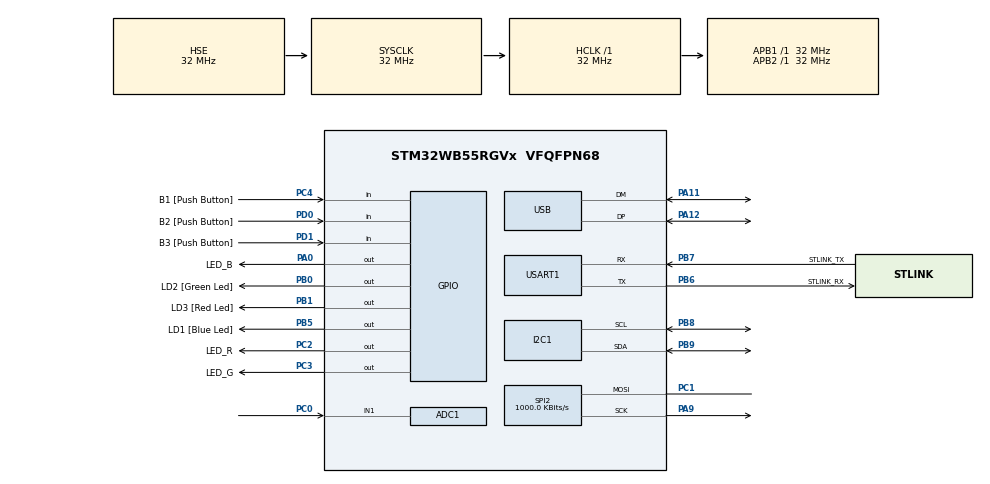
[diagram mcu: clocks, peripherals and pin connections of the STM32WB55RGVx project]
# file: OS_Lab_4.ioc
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Mcu.Family=STM32WB
Dma.SPI2_RX.0.Instance=DMA1_Channel1
RCC.CortexFreq_Value=32000000
SPI2.VirtualType=VM_MASTER
RCC.SMPSCLockSelectionVirtualVirtual=RCC_SMPSCLKSOURCE_HSI
USART1.WordLength=WORDLENGTH_7B
PA14.GPIO_Label=JTCK
PA0.GPIO_Label=LED_B
PD0.GPIO_Label=B2 [Push Button]
PA11.Mode=Device
PB0.GPIO_Label=LD2 [Green Led]
PB6.GPIO_Label=STLINK_RX
Dma.SPI2_RX.0.SyncEnable=DISABLE
RCC.SYSCLKSource=RCC_SYSCLKSOURCE_HSE
ProjectManager.StackSize=0x400
FREERTOS.configENABLE_FPU=1
PA12.Signal=USB_DP
RCC.HCLKFreq_Value=32000000
Dma.SPI2_RX.0.SignalID=NONE
RCC.APB2TimFreq_Value=32000000
PB6.Signal=USART1_TX
PB6.Mode=Asynchronous
PC3.Signal=GPIO_Output
PD0.Signal=GPIO_Input
OSC_OUT.Mode=HSE-External-Oscillator
OSC_OUT.Signal=RCC_OSC_OUT
RCC.AHBFreq_Value=32000000
SPI2.BaudRatePrescaler=SPI_BAUDRATEPRESCALER_32
ADC1.Channel-0\#ChannelRegularConversion=ADC_CHANNEL_1
RCC.HSE_VALUE=32000000
PB3.Mode=Trace_Asynchronous_SW
PD1.GPIO_Label=B3 [Push Button]
Dma.SPI2_RX.0.SyncSignalID=NONE
PC14-OSC32_IN.Mode=LSE-External-Oscillator
PC4.GPIO_Label=B1 [Push Button]
PA14.Mode=Trace_Asynchronous_SW
VP_SYS_VS_tim1.Mode=TIM1
PB1.GPIO_Label=LD3 [Red Led]
SPI2.CalculateBaudRate=1000.0 KBits/s
Dma.SPI2_RX.0.MemDataAlignment=DMA_MDATAALIGN_BYTE
PB7.Signal=USART1_RX
Dma.SPI2_RX.0.SyncRequestNumber=1
VP_FREERTOS_VS_CMSIS_V1.Mode=CMSIS_V1
ADC1.SamplingTime-0\#ChannelRegularConversion=ADC_SAMPLETIME_2CYCLES_5
FREERTOS.configTOTAL_HEAP_SIZE=10000
Dma.SPI2_RX.0.MemInc=DMA_MINC_ENABLE
PA0.Signal=GPIO_Output
RCC.APB3Freq_Value=16000000
PB7.GPIO_Label=STLINK_TX
Mcu.Package=VFQFPN68
PB9.Signal=I2C1_SDA
PB1.Signal=GPIO_Output
FREERTOS.configUSE_NEWLIB_REENTRANT=1
NVIC.TimeBase=TIM1_UP_TIM16_IRQn
SPI2.Mode=SPI_MODE_MASTER
NVIC.TimeBaseIP=TIM1
SPI2.CLKPhase=SPI_PHASE_2EDGE
SH.ADCx_IN1.0=ADC1_IN1,IN1-Single-Ended
PB5.GPIO_Label=LD1 [Blue Led]
RCC.APB1TimFreq_Value=32000000
SPI2.Direction=SPI_DIRECTION_1LINE
Dma.SPI2_RX.0.Direction=DMA_PERIPH_TO_MEMORY
Dma.Request0=SPI2_RX
RCC.SMPSDivider=1
PC2.GPIO_Label=LED_R
RCC.HSI48_VALUE=48000000
RCC.PLLSAI1N=24
PB3.GPIO_Label=JTDO
PB7.GPIO_PuPd=GPIO_PULLUP
PC15-OSC32_OUT.Mode=LSE-External-Oscillator
Dma.SPI2_RX.0.Polarity=HAL_DMAMUX_REQ_GEN_RISING
FREERTOS.Tasks01=defaultTask,-2,128,StartDefaultTask,Default,NULL,Dynamic,NULL,NULL;blinkyTask,0,128,StartBlinkyTask,Default,NULL,Dynamic,NULL,NULL;ReadADC,0,128,StartTaskADC,Default,NULL,Dynamic,NULL,NULL;RGB_Led,0,128,StartTaskRGB,Default,NULL,Dynamic,NULL,NULL;WriteLCD,-2,128,StartTaskWriteLCD,Default,NULL,Dynamic,NULL,NULL
ADC1.Rank-0\#ChannelRegularConversion=1
ADC1.OffsetNumber-0\#ChannelRegularConversion=ADC_OFFSET_NONE
Dma.SPI2_RX.0.Mode=DMA_CIRCULAR
PC13.Signal=SYS_WKUP2
FREERTOS.INCLUDE_vTaskDelayUntil=1
PB6.GPIO_PuPd=GPIO_PULLUP
PC2.Signal=GPIO_Output
PC4.Signal=GPIO_Input
PD1.Signal=GPIO_Input
PC0.Signal=ADCx_IN1
PC14-OSC32_IN.Signal=RCC_OSC32_IN
Dma.SPI2_RX.0.EventEnable=DISABLE
Dma.SPI2_RX.0.RequestNumber=1
USART1.VirtualMode-Asynchronous=VM_ASYNC
PA13.Signal=SYS_JTMS-SWDIO
PA9.Mode=Simplex_Bidirectional_Master
Dma.SPI2_RX.0.PeriphDataAlignment=DMA_PDATAALIGN_BYTE
ProjectManager.TargetToolchain=STM32CubeIDE
FREERTOS.configUSE_TRACE_FACILITY=1
PB9.Mode=I2C
PA9.Signal=SPI2_SCK
I2C1.Timing=0x00707CBB
OSC_IN.Signal=RCC_OSC_IN
RCC.USBFreq_Value=48000000
PC15-OSC32_OUT.Signal=RCC_OSC32_OUT
Dma.SPI2_RX.0.SyncPolarity=HAL_DMAMUX_SYNC_NO_EVENT
RCC.SMPSCLockSelectionVirtual=RCC_SMPSCLKSOURCE_HSI
board=NUCLEO-WB55RG
RCC.VCOOutputFreq_Value=128000000
RCC.APB2Freq_Value=32000000
RCC.ADCFreq_Value=48000000
PC13.Mode=SYS_WakeUp1
PA13.Mode=Trace_Asynchronous_SW
Dma.SPI2_RX.0.Priority=DMA_PRIORITY_LOW
Mcu.Name=STM32WB55RGVx
PA13.GPIO_Label=JTMS
PB3.Signal=SYS_JTDO-SWO
RCC.SYSCLKFreq_VALUE=32000000
PB5.Signal=GPIO_Output
ADC1.master=1
PA12.Mode=Device
OSC_IN.Mode=HSE-External-Oscillator
Dma.SPI2_RX.0.PeriphInc=DMA_PINC_DISABLE
SPI2.FirstBit=SPI_FIRSTBIT_LSB
PA11.Signal=USB_DM
PB7.Mode=Asynchronous
PA14.Signal=SYS_JTCK-SWCLK
ProjectManager.HeapSize=0x200
RCC.HSI_VALUE=16000000
NVIC.TIM1_UP_TIM16_IRQn=true\:0\:0\:false\:false\:true\:false\:false\:true
NVIC.PriorityGroup=NVIC_PRIORITYGROUP_4
ADC1.NbrOfConversionFlag=1
PB8.Mode=I2C
RCC.PLLN=32
PB8.Signal=I2C1_SCL
PC3.GPIO_Label=LED_G
SPI2.DataSize=SPI_DATASIZE_8BIT
NVIC.DMA1_Channel1_IRQn=true\:5\:0\:false\:false\:true\:true\:false\:true
RCC.APB1Freq_Value=32000000
PB0.Signal=GPIO_Output
PC1.Signal=SPI2_MOSI
PC1.Mode=Simplex_Bidirectional_Master

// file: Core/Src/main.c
/* USER CODE BEGIN Header */
/**
  ******************************************************************************
  * @file           : main.c
  * @brief          : Main program body
  ******************************************************************************
  * @attention
  *
  * <h2><center>&copy; Copyright (c) 2021 STMicroelectronics.
  * All rights reserved.</center></h2>
  *
  * This software component is licensed by ST under BSD 3-Clause license,
  * the "License"; You may not use this file except in compliance with the
  * License. You may obtain a copy of the License at:
  *                        opensource.org/licenses/BSD-3-Clause
  *
  ******************************************************************************
  */
/* USER CODE END Header */
#include "main.h"
#include "cmsis_os.h"

/* USER CODE BEGIN Includes */
#include "lcd.h"
#include "semphr.h"
#include "stdio.h"
/* USER CODE END Includes */

ADC_HandleTypeDef hadc1;

I2C_HandleTypeDef hi2c1;

SPI_HandleTypeDef hspi2;
DMA_HandleTypeDef hdma_spi2_rx;

UART_HandleTypeDef huart1;

PCD_HandleTypeDef hpcd_USB_FS;

osThreadId defaultTaskHandle;
osThreadId blinkyTaskHandle;
osThreadId ReadADCHandle;
osThreadId RGB_LedHandle;
osThreadId WriteLCDHandle;
/* USER CODE BEGIN PV */
uint16_t ADC_Data; // 3.1.3

TextLCDType lcd;

char g_str_top[16] = "ADC Value:      ";
char g_str_btm[16];

SemaphoreHandle_t adcMutex;
SemaphoreHandle_t strMutex;

enum color_state { RED, BLUE, YELLOW, GREEN, OFF };
enum color_state state;

TickType_t lcd_diff;
TickType_t rgb_diff;
TickType_t default_diff;
TickType_t adc_diff;
TickType_t blink_diff;

/* USER CODE END PV */

void SystemClock_Config(void);
static void MX_GPIO_Init(void);
static void MX_DMA_Init(void);
static void MX_USART1_UART_Init(void);
static void MX_USB_PCD_Init(void);
static void MX_ADC1_Init(void);
static void MX_I2C1_Init(void);
static void MX_SPI2_Init(void);
void StartDefaultTask(void const * argument);
void StartBlinkyTask(void const * argument);
void StartTaskADC(void const * argument);
void StartTaskRGB(void const * argument);
void StartTaskWriteLCD(void const * argument);

/* USER CODE BEGIN PFP */
void setRGB(uint8_t r, uint8_t g, uint8_t b); // 3.2.3
/* USER CODE END PFP */

/* USER CODE BEGIN 0 */

void setRGB(uint8_t r, uint8_t g, uint8_t b){ // 3.2.1/2

	r = r ? GPIO_PIN_SET : GPIO_PIN_RESET; // ternary
	g = g ? GPIO_PIN_SET : GPIO_PIN_RESET;
	b = b ? GPIO_PIN_SET : GPIO_PIN_RESET;

	HAL_GPIO_WritePin(LED_R_GPIO_Port, LED_R_Pin, r);
	HAL_GPIO_WritePin(LED_G_GPIO_Port, LED_G_Pin, g);
	HAL_GPIO_WritePin(LED_B_GPIO_Port, LED_B_Pin, b);
}
/* USER CODE END 0 */

int main(void)
{

  /* MCU Configuration--------------------------------------------------------*/

  /* Reset of all peripherals, Initializes the Flash interface and the Systick. */
  HAL_Init();

  /* Configure the system clock */
  SystemClock_Config();

  /* USER CODE BEGIN SysInit */
  vTraceEnable(TRC_START);
  chn0 = xTraceRegisterString("chn0");
  adc_ch = xTraceRegisterString("ADC:"); // 3.1.5
  vTracePrintF(chn0, "I am tracing channel %d", 0);
  /* USER CODE END SysInit */

  /* Initialize all configured peripherals */
  MX_GPIO_Init();
  MX_DMA_Init();
  MX_USART1_UART_Init();
  MX_USB_PCD_Init();
  MX_ADC1_Init();
  MX_I2C1_Init();
  MX_SPI2_Init();
  /* USER CODE BEGIN 2 */

  TextLCD_Init(&lcd, &hi2c1, 0x4E); // "startar" LCD
  /* USER CODE END 2 */

  /* USER CODE BEGIN RTOS_MUTEX */
  adcMutex = xSemaphoreCreateMutex();
  strMutex = xSemaphoreCreateMutex();
  /* USER CODE END RTOS_MUTEX */

  /* Create the thread(s) */
  /* definition and creation of defaultTask */
  osThreadDef(defaultTask, StartDefaultTask, osPriorityLow, 0, 128);
  defaultTaskHandle = osThreadCreate(osThread(defaultTask), NULL);

  /* definition and creation of blinkyTask */
  osThreadDef(blinkyTask, StartBlinkyTask, osPriorityNormal, 0, 128);
  blinkyTaskHandle = osThreadCreate(osThread(blinkyTask), NULL);

  /* definition and creation of ReadADC */
  osThreadDef(ReadADC, StartTaskADC, osPriorityNormal, 0, 128);
  ReadADCHandle = osThreadCreate(osThread(ReadADC), NULL);

  /* definition and creation of RGB_Led */
  osThreadDef(RGB_Led, StartTaskRGB, osPriorityNormal, 0, 128);
  RGB_LedHandle = osThreadCreate(osThread(RGB_Led), NULL);

  /* definition and creation of WriteLCD */
  osThreadDef(WriteLCD, StartTaskWriteLCD, osPriorityLow, 0, 128);
  WriteLCDHandle = osThreadCreate(osThread(WriteLCD), NULL);

  /* Start scheduler */
  osKernelStart();

  /* We should never get here as control is now taken by the scheduler */
  /* Infinite loop */
  while (1)
  {

  }
}

void SystemClock_Config(void)
{
  RCC_OscInitTypeDef RCC_OscInitStruct = {0};
  RCC_ClkInitTypeDef RCC_ClkInitStruct = {0};
  RCC_PeriphCLKInitTypeDef PeriphClkInitStruct = {0};

  /** Macro to configure the PLL multiplication factor
  */
  __HAL_RCC_PLL_PLLM_CONFIG(RCC_PLLM_DIV1);
  /** Macro to configure the PLL clock source
  */
  __HAL_RCC_PLL_PLLSOURCE_CONFIG(RCC_PLLSOURCE_MSI);
  /** Configure LSE Drive Capability
  */
  HAL_PWR_EnableBkUpAccess();
  __HAL_RCC_LSEDRIVE_CONFIG(RCC_LSEDRIVE_LOW);
  /** Configure the main internal regulator output voltage
  */
  __HAL_PWR_VOLTAGESCALING_CONFIG(PWR_REGULATOR_VOLTAGE_SCALE1);
  /** Initializes the RCC Oscillators according to the specified parameters
  * in the RCC_OscInitTypeDef structure.
  */
  RCC_OscInitStruct.OscillatorType = RCC_OSCILLATORTYPE_HSI|RCC_OSCILLATORTYPE_HSE
                              |RCC_OSCILLATORTYPE_LSE|RCC_OSCILLATORTYPE_MSI;
  RCC_OscInitStruct.HSEState = RCC_HSE_ON;
  RCC_OscInitStruct.LSEState = RCC_LSE_ON;
  RCC_OscInitStruct.HSIState = RCC_HSI_ON;
  RCC_OscInitStruct.MSIState = RCC_MSI_ON;
  RCC_OscInitStruct.HSICalibrationValue = RCC_HSICALIBRATION_DEFAULT;
  RCC_OscInitStruct.MSICalibrationValue = RCC_MSICALIBRATION_DEFAULT;
  RCC_OscInitStruct.MSIClockRange = RCC_MSIRANGE_6;
  RCC_OscInitStruct.PLL.PLLState = RCC_PLL_NONE;
  if (HAL_RCC_OscConfig(&RCC_OscInitStruct) != HAL_OK)
  {
    Error_Handler();
  }
  /** Configure the SYSCLKSource, HCLK, PCLK1 and PCLK2 clocks dividers
  */
  RCC_ClkInitStruct.ClockType = RCC_CLOCKTYPE_HCLK4|RCC_CLOCKTYPE_HCLK2
                              |RCC_CLOCKTYPE_HCLK|RCC_CLOCKTYPE_SYSCLK
                              |RCC_CLOCKTYPE_PCLK1|RCC_CLOCKTYPE_PCLK2;
  RCC_ClkInitStruct.SYSCLKSource = RCC_SYSCLKSOURCE_HSE;
  RCC_ClkInitStruct.AHBCLKDivider = RCC_SYSCLK_DIV1;
  RCC_ClkInitStruct.APB1CLKDivider = RCC_HCLK_DIV1;
  RCC_ClkInitStruct.APB2CLKDivider = RCC_HCLK_DIV1;
  RCC_ClkInitStruct.AHBCLK2Divider = RCC_SYSCLK_DIV1;
  RCC_ClkInitStruct.AHBCLK4Divider = RCC_SYSCLK_DIV1;

  if (HAL_RCC_ClockConfig(&RCC_ClkInitStruct, FLASH_LATENCY_1) != HAL_OK)
  {
    Error_Handler();
  }
  /** Initializes the peripherals clocks
  */
  PeriphClkInitStruct.PeriphClockSelection = RCC_PERIPHCLK_SMPS|RCC_PERIPHCLK_USART1
                              |RCC_PERIPHCLK_I2C1|RCC_PERIPHCLK_USB
                              |RCC_PERIPHCLK_ADC;
  PeriphClkInitStruct.PLLSAI1.PLLN = 24;
  PeriphClkInitStruct.PLLSAI1.PLLP = RCC_PLLP_DIV2;
  PeriphClkInitStruct.PLLSAI1.PLLQ = RCC_PLLQ_DIV2;
  PeriphClkInitStruct.PLLSAI1.PLLR = RCC_PLLR_DIV2;
  PeriphClkInitStruct.PLLSAI1.PLLSAI1ClockOut = RCC_PLLSAI1_USBCLK|RCC_PLLSAI1_ADCCLK;
  PeriphClkInitStruct.Usart1ClockSelection = RCC_USART1CLKSOURCE_PCLK2;
  PeriphClkInitStruct.I2c1ClockSelection = RCC_I2C1CLKSOURCE_PCLK1;
  PeriphClkInitStruct.UsbClockSelection = RCC_USBCLKSOURCE_PLLSAI1;
  PeriphClkInitStruct.AdcClockSelection = RCC_ADCCLKSOURCE_PLLSAI1;
  PeriphClkInitStruct.SmpsClockSelection = RCC_SMPSCLKSOURCE_HSI;
  PeriphClkInitStruct.SmpsDivSelection = RCC_SMPSCLKDIV_RANGE0;
  if (HAL_RCCEx_PeriphCLKConfig(&PeriphClkInitStruct) != HAL_OK)
  {
    Error_Handler();
  }
  /** Enable MSI Auto calibration
  */
  HAL_RCCEx_EnableMSIPLLMode();
}

static void MX_ADC1_Init(void)
{

  ADC_ChannelConfTypeDef sConfig = {0};

  /** Common config
  */
  hadc1.Instance = ADC1;
  hadc1.Init.ClockPrescaler = ADC_CLOCK_ASYNC_DIV1;
  hadc1.Init.Resolution = ADC_RESOLUTION_12B;
  hadc1.Init.DataAlign = ADC_DATAALIGN_RIGHT;
  hadc1.Init.ScanConvMode = ADC_SCAN_DISABLE;
  hadc1.Init.EOCSelection = ADC_EOC_SINGLE_CONV;
  hadc1.Init.LowPowerAutoWait = DISABLE;
  hadc1.Init.ContinuousConvMode = DISABLE;
  hadc1.Init.NbrOfConversion = 1;
  hadc1.Init.DiscontinuousConvMode = DISABLE;
  hadc1.Init.ExternalTrigConv = ADC_SOFTWARE_START;
  hadc1.Init.ExternalTrigConvEdge = ADC_EXTERNALTRIGCONVEDGE_NONE;
  hadc1.Init.DMAContinuousRequests = DISABLE;
  hadc1.Init.Overrun = ADC_OVR_DATA_PRESERVED;
  hadc1.Init.OversamplingMode = DISABLE;
  if (HAL_ADC_Init(&hadc1) != HAL_OK)
  {
    Error_Handler();
  }
  /** Configure Regular Channel
  */
  sConfig.Channel = ADC_CHANNEL_1;
  sConfig.Rank = ADC_REGULAR_RANK_1;
  sConfig.SamplingTime = ADC_SAMPLETIME_2CYCLES_5;
  sConfig.SingleDiff = ADC_SINGLE_ENDED;
  sConfig.OffsetNumber = ADC_OFFSET_NONE;
  sConfig.Offset = 0;
  if (HAL_ADC_ConfigChannel(&hadc1, &sConfig) != HAL_OK)
  {
    Error_Handler();
  }

}

static void MX_I2C1_Init(void)
{

  hi2c1.Instance = I2C1;
  hi2c1.Init.Timing = 0x00707CBB;
  hi2c1.Init.OwnAddress1 = 0;
  hi2c1.Init.AddressingMode = I2C_ADDRESSINGMODE_7BIT;
  hi2c1.Init.DualAddressMode = I2C_DUALADDRESS_DISABLE;
  hi2c1.Init.OwnAddress2 = 0;
  hi2c1.Init.OwnAddress2Masks = I2C_OA2_NOMASK;
  hi2c1.Init.GeneralCallMode = I2C_GENERALCALL_DISABLE;
  hi2c1.Init.NoStretchMode = I2C_NOSTRETCH_DISABLE;
  if (HAL_I2C_Init(&hi2c1) != HAL_OK)
  {
    Error_Handler();
  }
  /** Configure Analogue filter
  */
  if (HAL_I2CEx_ConfigAnalogFilter(&hi2c1, I2C_ANALOGFILTER_ENABLE) != HAL_OK)
  {
    Error_Handler();
  }
  /** Configure Digital filter
  */
  if (HAL_I2CEx_ConfigDigitalFilter(&hi2c1, 0) != HAL_OK)
  {
    Error_Handler();
  }

}

static void MX_SPI2_Init(void)
{

  /* SPI2 parameter configuration*/
  hspi2.Instance = SPI2;
  hspi2.Init.Mode = SPI_MODE_MASTER;
  hspi2.Init.Direction = SPI_DIRECTION_1LINE;
  hspi2.Init.DataSize = SPI_DATASIZE_8BIT;
  hspi2.Init.CLKPolarity = SPI_POLARITY_LOW;
  hspi2.Init.CLKPhase = SPI_PHASE_2EDGE;
  hspi2.Init.NSS = SPI_NSS_SOFT;
  hspi2.Init.BaudRatePrescaler = SPI_BAUDRATEPRESCALER_32;
  hspi2.Init.FirstBit = SPI_FIRSTBIT_LSB;
  hspi2.Init.TIMode = SPI_TIMODE_DISABLE;
  hspi2.Init.CRCCalculation = SPI_CRCCALCULATION_DISABLE;
  hspi2.Init.CRCPolynomial = 7;
  hspi2.Init.CRCLength = SPI_CRC_LENGTH_DATASIZE;
  hspi2.Init.NSSPMode = SPI_NSS_PULSE_DISABLE;
  if (HAL_SPI_Init(&hspi2) != HAL_OK)
  {
    Error_Handler();
  }

}

static void MX_USART1_UART_Init(void)
{

  huart1.Instance = USART1;
  huart1.Init.BaudRate = 115200;
  huart1.Init.WordLength = UART_WORDLENGTH_7B;
  huart1.Init.StopBits = UART_STOPBITS_1;
  huart1.Init.Parity = UART_PARITY_NONE;
  huart1.Init.Mode = UART_MODE_TX_RX;
  huart1.Init.HwFlowCtl = UART_HWCONTROL_NONE;
  huart1.Init.OverSampling = UART_OVERSAMPLING_16;
  huart1.Init.OneBitSampling = UART_ONE_BIT_SAMPLE_DISABLE;
  huart1.Init.ClockPrescaler = UART_PRESCALER_DIV1;
  huart1.AdvancedInit.AdvFeatureInit = UART_ADVFEATURE_NO_INIT;
  if (HAL_UART_Init(&huart1) != HAL_OK)
  {
    Error_Handler();
  }
  if (HAL_UARTEx_SetTxFifoThreshold(&huart1, UART_TXFIFO_THRESHOLD_1_8) != HAL_OK)
  {
    Error_Handler();
  }
  if (HAL_UARTEx_SetRxFifoThreshold(&huart1, UART_RXFIFO_THRESHOLD_1_8) != HAL_OK)
  {
    Error_Handler();
  }
  if (HAL_UARTEx_DisableFifoMode(&huart1) != HAL_OK)
  {
    Error_Handler();
  }

}

static void MX_USB_PCD_Init(void)
{

  hpcd_USB_FS.Instance = USB;
  hpcd_USB_FS.Init.dev_endpoints = 8;
  hpcd_USB_FS.Init.speed = PCD_SPEED_FULL;
  hpcd_USB_FS.Init.phy_itface = PCD_PHY_EMBEDDED;
  hpcd_USB_FS.Init.Sof_enable = DISABLE;
  hpcd_USB_FS.Init.low_power_enable = DISABLE;
  hpcd_USB_FS.Init.lpm_enable = DISABLE;
  hpcd_USB_FS.Init.battery_charging_enable = DISABLE;
  if (HAL_PCD_Init(&hpcd_USB_FS) != HAL_OK)
  {
    Error_Handler();
  }

}

static void MX_DMA_Init(void)
{

  /* DMA controller clock enable */
  __HAL_RCC_DMAMUX1_CLK_ENABLE();
  __HAL_RCC_DMA1_CLK_ENABLE();

  /* DMA interrupt init */
  /* DMA1_Channel1_IRQn interrupt configuration */
  HAL_NVIC_SetPriority(DMA1_Channel1_IRQn, 5, 0);
  HAL_NVIC_EnableIRQ(DMA1_Channel1_IRQn);

}

static void MX_GPIO_Init(void)
{
  GPIO_InitTypeDef GPIO_InitStruct = {0};

  /* GPIO Ports Clock Enable */
  __HAL_RCC_GPIOC_CLK_ENABLE();
  __HAL_RCC_GPIOB_CLK_ENABLE();
  __HAL_RCC_GPIOA_CLK_ENABLE();
  __HAL_RCC_GPIOD_CLK_ENABLE();

  /*Configure GPIO pin Output Level */
  HAL_GPIO_WritePin(GPIOC, LED_R_Pin|LED_G_Pin, GPIO_PIN_RESET);

  /*Configure GPIO pin Output Level */
  HAL_GPIO_WritePin(LED_B_GPIO_Port, LED_B_Pin, GPIO_PIN_RESET);

  /*Configure GPIO pin Output Level */
  HAL_GPIO_WritePin(GPIOB, LD2_Pin|LD3_Pin|LD1_Pin, GPIO_PIN_RESET);

  /*Configure GPIO pins : LED_R_Pin LED_G_Pin */
  GPIO_InitStruct.Pin = LED_R_Pin|LED_G_Pin;
  GPIO_InitStruct.Mode = GPIO_MODE_OUTPUT_PP;
  GPIO_InitStruct.Pull = GPIO_NOPULL;
  GPIO_InitStruct.Speed = GPIO_SPEED_FREQ_LOW;
  HAL_GPIO_Init(GPIOC, &GPIO_InitStruct);

  /*Configure GPIO pin : LED_B_Pin */
  GPIO_InitStruct.Pin = LED_B_Pin;
  GPIO_InitStruct.Mode = GPIO_MODE_OUTPUT_PP;
  GPIO_InitStruct.Pull = GPIO_NOPULL;
  GPIO_InitStruct.Speed = GPIO_SPEED_FREQ_LOW;
  HAL_GPIO_Init(LED_B_GPIO_Port, &GPIO_InitStruct);

  /*Configure GPIO pin : B1_Pin */
  GPIO_InitStruct.Pin = B1_Pin;
  GPIO_InitStruct.Mode = GPIO_MODE_INPUT;
  GPIO_InitStruct.Pull = GPIO_NOPULL;
  HAL_GPIO_Init(B1_GPIO_Port, &GPIO_InitStruct);

  /*Configure GPIO pins : LD2_Pin LD3_Pin LD1_Pin */
  GPIO_InitStruct.Pin = LD2_Pin|LD3_Pin|LD1_Pin;
  GPIO_InitStruct.Mode = GPIO_MODE_OUTPUT_PP;
  GPIO_InitStruct.Pull = GPIO_NOPULL;
  GPIO_InitStruct.Speed = GPIO_SPEED_FREQ_LOW;
  HAL_GPIO_Init(GPIOB, &GPIO_InitStruct);

  /*Configure GPIO pins : B2_Pin B3_Pin */
  GPIO_InitStruct.Pin = B2_Pin|B3_Pin;
  GPIO_InitStruct.Mode = GPIO_MODE_INPUT;
  GPIO_InitStruct.Pull = GPIO_NOPULL;
  HAL_GPIO_Init(GPIOD, &GPIO_InitStruct);

}

void StartDefaultTask(void const * argument)
{
  /* USER CODE BEGIN 5 */

	TickType_t default_start;
	TickType_t default_stop;
  /* Infinite loop */
  for(;;)
  {
	  default_start = xTaskGetTickCount();
	  osDelay(1);
	  default_stop = xTaskGetTickCount();
	  default_diff = default_stop - default_start;
  }
  /* USER CODE END 5 */
}

void StartBlinkyTask(void const * argument)
{
  /* USER CODE BEGIN StartBlinkyTask */
	TickType_t blink_start;
	TickType_t blink_stop;
	/* Infinite loop */
	for(;;)
	{
//		void vTaskFunction( void * pvParameters )
//		 {
//		 // Block for 500ms.
//		 const TickType_t xDelay = 500 / portTICK_PERIOD_MS;
//
//			 for( ;; )
//			 {
//				 // Simply toggle the LED every 500ms, blocking between each toggle.
//				 vToggleLED();
//				 vTaskDelay( xDelay );
//			 }
//		 }
		blink_start = xTaskGetTickCount();
		vTaskDelay(500);
		HAL_GPIO_TogglePin(LD2_GPIO_Port, LD2_Pin);
		blink_stop = xTaskGetTickCount();
		blink_diff = blink_stop - blink_start;
	}
  /* USER CODE END StartBlinkyTask */
}

void StartTaskADC(void const * argument) // 3.1.4
{
  /* USER CODE BEGIN StartTaskADC */
	TickType_t adc_start;
	TickType_t adc_stop;
  /* Infinite loop */
  for(;;)
  {
	  adc_start = xTaskGetTickCount();
	  HAL_ADC_Start(&hadc1);
	  HAL_ADC_PollForConversion(&hadc1, 100);
	  if( xSemaphoreTake( adcMutex, ( TickType_t ) 10 ) == pdTRUE ) // Thread safety. 3.3
	  {
		  ADC_Data = HAL_ADC_GetValue(&hadc1); // Write data to the buffer.
	      xSemaphoreGive( adcMutex );
	  }
	  HAL_ADC_Stop(&hadc1);

	  char adc_str[30];
	  sprintf(adc_str, "ADC Value: % 4d", ADC_Data);

	  if( xSemaphoreTake( strMutex, ( TickType_t ) 10 ) == pdTRUE ) // Thread safety. 3.3
	  {
		  sprintf(g_str_btm, "%04d           ", ADC_Data);
		  xSemaphoreGive( strMutex );
	  }

	  vTracePrintF(adc_ch, adc_str, 0); // Tracing purposes. 3.1.6
	  vTaskDelay(100);
	  adc_stop = xTaskGetTickCount();
	  adc_diff = adc_stop - adc_start;
  }
  /* USER CODE END StartTaskADC */
}
void StartTaskRGB(void const * argument) // 3.2. Working as intended:)
{
  /* USER CODE BEGIN StartTaskRGB */
	TickType_t wakeup_time;
	const TickType_t periodTime = 150;
	TickType_t last_red_tick = 0;
	TickType_t last_blue_tick = 0;

	TickType_t rgb_start;
	TickType_t rgb_stop;

	wakeup_time = xTaskGetTickCount();

  /* Infinite loop */
  for(;;)
  {
	  rgb_start = xTaskGetTickCount();
	  uint16_t ADC_DataLocal; // Local copy of the global ADC value.
	  if( xSemaphoreTake( adcMutex, ( TickType_t ) 10 ) == pdTRUE ) // Thread safety, 3.3
	  {
		  ADC_DataLocal = ADC_Data; // Local copy of the global ADC value.
		  xSemaphoreGive( adcMutex );
	  }
	  // Naive first pass, just set the color states as per 3.2.5:
	  if(ADC_DataLocal > 3000)
	  {
		  state = RED; // Set color. 3.2.5

		  last_red_tick = wakeup_time + 1400; // wakeup_time is reset after every iteration of the loop.
		  last_blue_tick = last_red_tick + 600; // Basically wakeup_time + 2k.
	  }
	  else if(ADC_DataLocal > 2000)
	  {
		  state = YELLOW;
	  }
	  else if(ADC_DataLocal > 1000)
	  {
		  state = GREEN;
	  }
	  else
	  {
		  state = OFF;
	  }
	  // Check if the timing has changed, is it time to delay the color state changes.
	  if(last_blue_tick > wakeup_time)
	  {
		  state = BLUE;
		  if(last_red_tick > wakeup_time)
		  {
			  state = RED;
		  }
	  }

	  switch (state)
	  {
	  case RED :
		  setRGB(1, 0, 0);
		  break;
	  case BLUE :
		  setRGB(0, 0, 1);
		  break;
	  case YELLOW :
		  setRGB(1, 1, 0);
		  break;
	  case GREEN :
		  setRGB(0, 1, 0);
		  break;
	  case OFF :
		  setRGB(0, 0, 0);
		  break;
	  }

	  vTaskDelayUntil(&wakeup_time, periodTime); // Set period to 150 ticks.
	  rgb_stop = xTaskGetTickCount();
	  rgb_diff = rgb_stop - rgb_start;
  }
  /* USER CODE END StartTaskRGB */
}

void StartTaskWriteLCD(void const * argument) // OK.
{
  /* USER CODE BEGIN StartTaskWriteLCD */

	TickType_t LCD_wakeup_time;
	const TickType_t periodTime = 700;

	TickType_t lcd_start;
	TickType_t lcd_stop;

	char hello[16] = "Hello           ";
	char world[16] = "Word!           ";

	char str_top[16];
	char str_btm[16];

	LCD_wakeup_time = xTaskGetTickCount();

  /* Infinite loop */
  for(;;)
  {
	  lcd_start = xTaskGetTickCount();

//	  if( xSemaphoreTake( strMutex, ( TickType_t ) 10 ) == pdTRUE ) // Thread safety, 3.3
//	  {
//		  for (int i = 0; i < 16; i++)
//		  {
//			  str_top[i] = g_str_top[i];
//			  str_btm[i] = g_str_btm[i];
//		  }
//		  xSemaphoreGive( strMutex );
//	  }

	  TextLCD_Home(&lcd);
	  TextLCD_Puts(&lcd, hello); //str_top);
	  TextLCD_Position(&lcd, 0, 1); // Second row, first character.
	  TextLCD_Puts(&lcd, world); //str_btm);

	  vTaskDelayUntil(&LCD_wakeup_time, periodTime); // Swap string every 700 ticks.

	  TextLCD_Home(&lcd);
	  TextLCD_Puts(&lcd, world); //str_btm);
	  TextLCD_Position(&lcd, 0, 1); // Second row, first character.
	  TextLCD_Puts(&lcd, hello); //str_top);

	  vTaskDelayUntil(&LCD_wakeup_time, periodTime); // Swap string every 700 ticks.
	  lcd_stop = xTaskGetTickCount();
	  lcd_diff = lcd_stop - lcd_start;
  }
  /* USER CODE END StartTaskWriteLCD */
}

 /**
  * @brief  Period elapsed callback in non blocking mode
  * @note   This function is called  when TIM1 interrupt took place, inside
  * HAL_TIM_IRQHandler(). It makes a direct call to HAL_IncTick() to increment
  * a global variable "uwTick" used as application time base.
  * @param  htim : TIM handle
  * @retval None
  */
void HAL_TIM_PeriodElapsedCallback(TIM_HandleTypeDef *htim)
{
  if (htim->Instance == TIM1) {
    HAL_IncTick();
  }
}

void Error_Handler(void)
{
  __disable_irq();
  while (1)
  {
  }
}

/************************ (C) COPYRIGHT STMicroelectronics *****END OF FILE****/
